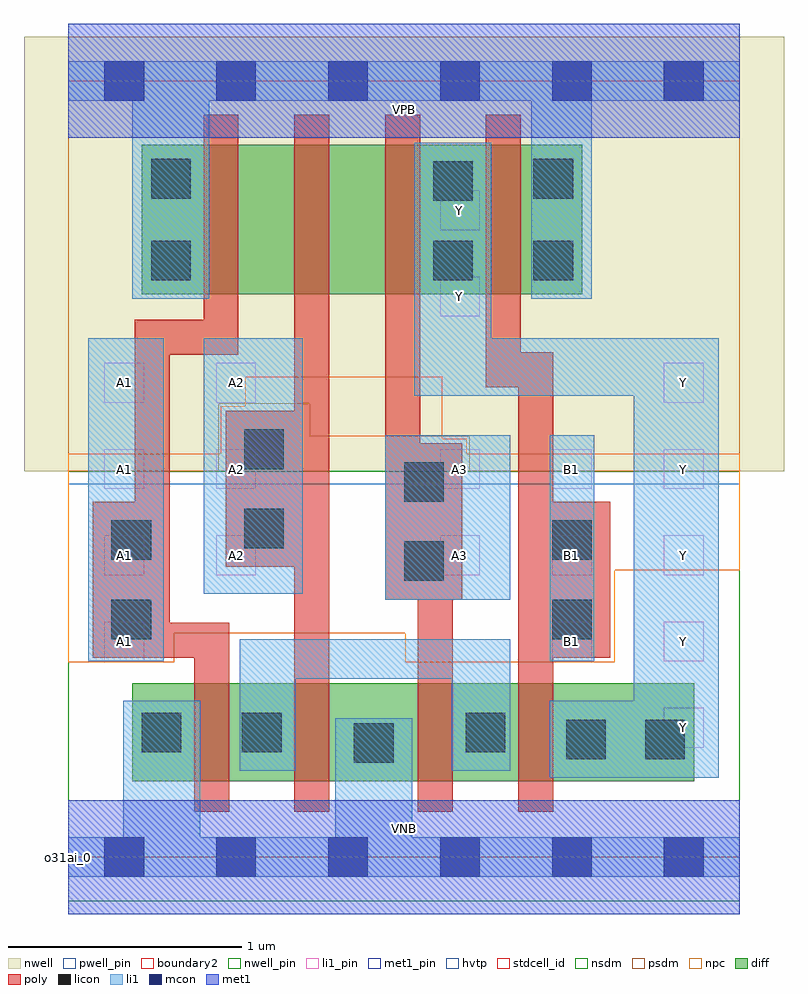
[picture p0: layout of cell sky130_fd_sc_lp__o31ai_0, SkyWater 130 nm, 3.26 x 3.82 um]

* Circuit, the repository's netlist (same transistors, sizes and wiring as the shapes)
* Copyright 2020 The SkyWater PDK Authors
*
* Licensed under the Apache License, Version 2.0 (the "License");
* you may not use this file except in compliance with the License.
* You may obtain a copy of the License at
*
*     https://www.apache.org/licenses/LICENSE-2.0
*
* Unless required by applicable law or agreed to in writing, software
* distributed under the License is distributed on an "AS IS" BASIS,
* WITHOUT WARRANTIES OR CONDITIONS OF ANY KIND, either express or implied.
* See the License for the specific language governing permissions and
* limitations under the License.
*
* SPDX-License-Identifier: Apache-2.0

.SUBCKT sky130_fd_sc_lp__o31ai_0 A1 A2 A3 B1 VGND VNB VPB VPWR Y
*.PININFO A1:I A2:I A3:I B1:I VGND:I VNB:I VPB:I VPWR:I Y:O
MMPA0 VPWR A1 sndA1 VPB sky130_fd_pr__pfet_01v8_hvt m=1 w=0.64U l=0.15U mult=1
+ sa=0.265 sb=0.265 sd=0.28 area=0.063 perim=1.14
MMPA1 sndA1 A2 sndA2 VPB sky130_fd_pr__pfet_01v8_hvt m=1 w=0.64U l=0.15U mult=1
+ sa=0.265 sb=0.265 sd=0.28 area=0.063 perim=1.14
MMPA2 sndA2 A3 Y VPB sky130_fd_pr__pfet_01v8_hvt m=1 w=0.64U l=0.15U mult=1 sa=0.265
+ sb=0.265 sd=0.28 area=0.063 perim=1.14
MMPB0 VPWR B1 Y VPB sky130_fd_pr__pfet_01v8_hvt m=1 w=0.64U l=0.15U mult=1 sa=0.265
+ sb=0.265 sd=0.28 area=0.063 perim=1.14
MMNA0 pndA A1 VGND VNB sky130_fd_pr__nfet_01v8 m=1 w=0.42U l=0.15U mult=1 sa=0.265
+ sb=0.265 sd=0.28 area=0.063 perim=1.14
MMNA1 pndA A2 VGND VNB sky130_fd_pr__nfet_01v8 m=1 w=0.42U l=0.15U mult=1 sa=0.265
+ sb=0.265 sd=0.28 area=0.063 perim=1.14
MMNA2 pndA A3 VGND VNB sky130_fd_pr__nfet_01v8 m=1 w=0.42U l=0.15U mult=1 sa=0.265
+ sb=0.265 sd=0.28 area=0.063 perim=1.14
MMNB0 Y B1 pndA VNB sky130_fd_pr__nfet_01v8 m=1 w=0.42U l=0.15U mult=1 sa=0.265
+ sb=0.265 sd=0.28 area=0.063 perim=1.14
.ENDS sky130_fd_sc_lp__o31ai_0

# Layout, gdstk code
import gdstk
lib = gdstk.Library(unit=1e-6, precision=1e-09)
def R(c, l, rs):  # rectangles x0, y0, x1, y1
    for r in rs: c.add(gdstk.rectangle(r[:2], r[2:], *l))
def A(c, l, x, y, w, h, nx, ny, dx, dy):  # array of equal rectangles
    R(c, l, [(x+i*dx, y+j*dy, x+i*dx+w, y+j*dy+h) for i in range(nx) for j in range(ny)])
def P(c, l, *ps):  # polygons
    for p in ps: c.add(gdstk.Polygon(p, *l))
nwell_pin = (64, 16)
nwell = (64, 20)
diff = (65, 20)
poly = (66, 20)
licon = (66, 44)
li1_pin = (67, 16)
li1 = (67, 20)
mcon = (67, 44)
met1_pin = (68, 16)
met1 = (68, 20)
hvtp = (78, 44)
stdcell_id = (81, 4)
nsdm = (93, 44)
psdm = (94, 20)
npc = (95, 20)
pwell_pin = (122, 16)
boundary2 = (236, 0)

sky130_fd_sc_lp__o31ai_0 = lib.new_cell('sky130_fd_sc_lp__o31ai_0')
R(sky130_fd_sc_lp__o31ai_0, nwell_pin, [(0,3.085,2.88,3.33)])
R(sky130_fd_sc_lp__o31ai_0, nwell, [(-0.19,1.655,3.07,3.52)])
R(sky130_fd_sc_lp__o31ai_0, diff, [(0.275,0.325,2.685,0.745), (0.315,2.415,2.205,3.055)])
P(sky130_fd_sc_lp__o31ai_0, poly, [(0.73,3.185),(0.58,3.185),(0.58,2.305),(0.285,2.305),(0.285,1.525),(0.105,1.525),(0.105,0.855),(0.54,0.855),(0.54,0.195),(0.69,0.195),(0.69,1.005),(0.435,1.005),(0.435,2.155),(0.73,2.155)],
  [(1.12,3.185),(0.97,3.185),(0.97,1.915),(0.675,1.915),(0.675,1.245),(0.97,1.245),(0.97,0.195),(1.12,0.195)],
  [(1.69,1.775),(1.51,1.775),(1.51,3.185),(1.36,3.185),(1.36,1.105),(1.5,1.105),(1.5,0.195),(1.65,0.195),(1.65,1.105),(1.69,1.105)],
  [(2.325,1.525),(2.08,1.525),(2.08,2.165),(1.94,2.165),(1.94,3.185),(1.79,3.185),(1.79,2.015),(1.93,2.015),(1.93,0.195),(2.08,0.195),(2.08,0.855),(2.325,0.855)])
R(sky130_fd_sc_lp__o31ai_0, licon, [(1.225,0.405,1.395,0.575), (2.135,0.42,2.305,0.59), (2.475,0.42,2.645,0.59), (0.315,0.45,0.485,0.62), (0.745,0.45,0.915,0.62), (1.705,0.45,1.875,0.62), (0.185,0.935,0.355,1.105), (2.075,0.935,2.245,1.105), (1.44,1.185,1.61,1.355), (0.185,1.275,0.355,1.445), (2.075,1.275,2.245,1.445), (0.755,1.325,0.925,1.495), (1.44,1.525,1.61,1.695), (0.755,1.665,0.925,1.835), (0.355,2.475,0.525,2.645), (1.565,2.475,1.735,2.645), (1.995,2.475,2.165,2.645), (1.565,2.815,1.735,2.985), (0.355,2.825,0.525,2.995), (1.995,2.825,2.165,2.995)])
A(sky130_fd_sc_lp__o31ai_0, li1_pin, 0.155, 0.84, 0.17, 0.17, 1, 4, 0, 0.37)
A(sky130_fd_sc_lp__o31ai_0, li1_pin, 0.635, 1.21, 0.17, 0.17, 1, 3, 0, 0.37)
A(sky130_fd_sc_lp__o31ai_0, li1_pin, 1.595, 1.21, 0.17, 0.17, 3, 2, 0.48, 0.37)
R(sky130_fd_sc_lp__o31ai_0, li1_pin, [(2.555,0.47,2.725,0.64), (2.075,0.84,2.245,1.01), (2.555,0.84,2.725,1.01), (2.555,1.95,2.725,2.12), (1.595,2.32,1.765,2.49), (1.595,2.69,1.765,2.86)])
R(sky130_fd_sc_lp__o31ai_0, li1, [(0.085,0.84,0.41,2.225), (2.065,0.84,2.255,1.81), (1.36,1.105,1.895,1.81), (0.58,1.13,1.005,2.225)])
P(sky130_fd_sc_lp__o31ai_0, li1, [(0.275,2.395),(0.275,3.245),(0,3.245),(0,3.415),(2.88,3.415),(2.88,3.245),(2.245,3.245),(2.245,2.395),(1.985,2.395),(1.985,3.245),(0.605,3.245),(0.605,2.395)],
  [(0.235,0.085),(0.235,0.67),(0.565,0.67),(0.565,0.085),(1.145,0.085),(1.145,0.595),(1.475,0.595),(1.475,0.085),(2.88,0.085),(2.88,-0.085),(0,-0.085),(0,0.085)],
  [(2.79,2.225),(1.815,2.225),(1.815,3.065),(1.485,3.065),(1.485,1.98),(2.425,1.98),(2.425,0.67),(2.065,0.67),(2.065,0.34),(2.79,0.34)],
  [(1.895,0.935),(1.895,0.37),(1.645,0.37),(1.645,0.765),(0.975,0.765),(0.975,0.37),(0.735,0.37),(0.735,0.935)])
A(sky130_fd_sc_lp__o31ai_0, mcon, 0.155, -0.085, 0.17, 0.17, 6, 2, 0.48, 3.33)
R(sky130_fd_sc_lp__o31ai_0, met1_pin, [(0,0,2.88,0.245), (0,3.085,2.88,3.33)])
R(sky130_fd_sc_lp__o31ai_0, met1, [(0,-0.245,2.88,0.245), (0,3.085,2.88,3.575)])
R(sky130_fd_sc_lp__o31ai_0, hvtp, [(0,1.6,2.88,3.33)])
R(sky130_fd_sc_lp__o31ai_0, stdcell_id, [(0,0,2.88,3.33)])
R(sky130_fd_sc_lp__o31ai_0, nsdm, [(0,-0.19,2.88,1.655)])
P(sky130_fd_sc_lp__o31ai_0, psdm, [(2.88,3.52),(0,3.52),(0,1.655),(0.645,1.655),(0.645,1.945),(1.035,1.945),(1.035,1.805),(1.72,1.805),(1.72,1.655),(2.88,1.655)])
P(sky130_fd_sc_lp__o31ai_0, npc, [(2.88,1.73),(1.71,1.73),(1.71,1.795),(1.605,1.795),(1.605,2.06),(0.76,2.06),(0.76,1.935),(0.655,1.935),(0.655,1.73),(0,1.73),(0,0.835),(0.455,0.835),(0.455,0.96),(1.445,0.96),(1.445,0.835),(2.345,0.835),(2.345,1.23),(2.88,1.23)])
R(sky130_fd_sc_lp__o31ai_0, pwell_pin, [(0,0,2.88,0.245)])
R(sky130_fd_sc_lp__o31ai_0, boundary2, [(0,0,2.88,3.33)])
sky130_fd_sc_lp__o31ai_0.add(gdstk.Label('VNB', (1.44,0.123), layer=64, texttype=59))
sky130_fd_sc_lp__o31ai_0.add(gdstk.Label('VPB', (1.44,3.208), layer=64, texttype=5))
sky130_fd_sc_lp__o31ai_0.add(gdstk.Label('o31ai_0', (0,0), layer=83, texttype=44))
sky130_fd_sc_lp__o31ai_0.add(gdstk.Label('VPWR', (1.44,3.208), layer=68, texttype=5))
sky130_fd_sc_lp__o31ai_0.add(gdstk.Label('VGND', (1.44,0.123), layer=68, texttype=5))
sky130_fd_sc_lp__o31ai_0.add(gdstk.Label('A1', (0.24,0.925), layer=67, texttype=5))
sky130_fd_sc_lp__o31ai_0.add(gdstk.Label('A1', (0.24,1.295), layer=67, texttype=5))
sky130_fd_sc_lp__o31ai_0.add(gdstk.Label('A1', (0.24,1.665), layer=67, texttype=5))
sky130_fd_sc_lp__o31ai_0.add(gdstk.Label('A1', (0.24,2.035), layer=67, texttype=5))
sky130_fd_sc_lp__o31ai_0.add(gdstk.Label('Y', (1.68,2.775), layer=67, texttype=5))
sky130_fd_sc_lp__o31ai_0.add(gdstk.Label('B1', (2.16,0.925), layer=67, texttype=5))
sky130_fd_sc_lp__o31ai_0.add(gdstk.Label('B1', (2.16,1.295), layer=67, texttype=5))
sky130_fd_sc_lp__o31ai_0.add(gdstk.Label('B1', (2.16,1.665), layer=67, texttype=5))
sky130_fd_sc_lp__o31ai_0.add(gdstk.Label('A2', (0.72,1.295), layer=67, texttype=5))
sky130_fd_sc_lp__o31ai_0.add(gdstk.Label('A2', (0.72,1.665), layer=67, texttype=5))
sky130_fd_sc_lp__o31ai_0.add(gdstk.Label('A2', (0.72,2.035), layer=67, texttype=5))
sky130_fd_sc_lp__o31ai_0.add(gdstk.Label('A3', (1.68,1.295), layer=67, texttype=5))
sky130_fd_sc_lp__o31ai_0.add(gdstk.Label('A3', (1.68,1.665), layer=67, texttype=5))
sky130_fd_sc_lp__o31ai_0.add(gdstk.Label('Y', (1.68,2.405), layer=67, texttype=5))
sky130_fd_sc_lp__o31ai_0.add(gdstk.Label('Y', (2.64,0.555), layer=67, texttype=5))
sky130_fd_sc_lp__o31ai_0.add(gdstk.Label('Y', (2.64,0.925), layer=67, texttype=5))
sky130_fd_sc_lp__o31ai_0.add(gdstk.Label('Y', (2.64,1.295), layer=67, texttype=5))
sky130_fd_sc_lp__o31ai_0.add(gdstk.Label('Y', (2.64,1.665), layer=67, texttype=5))
sky130_fd_sc_lp__o31ai_0.add(gdstk.Label('Y', (2.64,2.035), layer=67, texttype=5))

lib.write_gds('sky130_fd_sc_lp__o31ai_0.gds')
